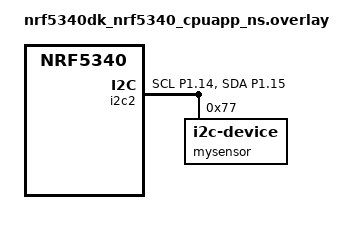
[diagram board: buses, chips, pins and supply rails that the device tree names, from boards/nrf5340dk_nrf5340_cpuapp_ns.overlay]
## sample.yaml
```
sample:
  name: nRF Connect SDK Fundamentals Course - Lesson 6 Exercise 1 Solution
  
common: 
    sysbuild: true
    build_only: true
    integration_platforms: 
      - nrf52dk/nrf52832
      - nrf52833dk/nrf52833
      - nrf52840dk/nrf52840
      - nrf9160dk/nrf9160/ns
      - nrf9161dk/nrf9161/ns
      - nrf9151dk/nrf9151/ns
      - nrf5340dk/nrf5340/cpuapp
      - nrf5340dk/nrf5340/cpuapp/ns
      - nrf54l15dk/nrf54l15/cpuapp
      - nrf54l15dk/nrf54l15/cpuapp/ns
      - nrf7002dk/nrf5340/cpuapp
      - nrf7002dk/nrf5340/cpuapp/ns
    platform_exclude:
      - native_sim
    
tests:
  l6.e1_sol: {}
```

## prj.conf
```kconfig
#
# Copyright (c) 2016 Intel Corporation
#
# SPDX-License-Identifier: Apache-2.0
#

# STEP 2 - Enable the I2C driver
CONFIG_I2C=y
# STEP 4.2 - Enable floating point format specifiers
CONFIG_CBPRINTF_FP_SUPPORT=y
```

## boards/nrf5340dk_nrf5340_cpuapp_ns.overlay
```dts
// To get started, press Ctrl+Space to bring up the completion menu and view the available nodes.
// For more help, browse the DeviceTree documentation at https://docs.zephyrproject.org/latest/guides/dts/index.html

&i2c2 {
    status = "okay";
    pinctrl-0 = <&i2c2_default>;
	pinctrl-1 = <&i2c2_sleep>;
    pinctrl-names = "default", "sleep";
    mysensor: mysensor@77{
        compatible = "i2c-device";
        status = "okay";
        reg = < 0x77 >;
    };
};

&pinctrl {
	/omit-if-no-ref/ i2c2_default: i2c2_default {
		group1  {
			psels = <NRF_PSEL(TWIM_SCL, 1, 14)>,
					<NRF_PSEL(TWIM_SDA, 1, 15)>;
		};
	};

	/omit-if-no-ref/ i2c2_sleep: i2c2_sleep {
		group1  {
			psels = <NRF_PSEL(TWIM_SCL, 1, 14)>,
					<NRF_PSEL(TWIM_SDA, 1, 15)>;
			low-power-enable;
		};
	};
};
```

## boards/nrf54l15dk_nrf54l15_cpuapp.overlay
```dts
// To get started, press Ctrl+Space to bring up the completion menu and view the available nodes.
// For more help, browse the DeviceTree documentation at https://docs.zephyrproject.org/latest/guides/dts/index.html

&i2c21 {
    status = "okay";
    pinctrl-0 = <&i2c21_default>;
	pinctrl-1 = <&i2c21_sleep>;
    pinctrl-names = "default", "sleep";
    mysensor: mysensor@77{
        compatible = "i2c-device";
        status = "okay";
        reg = < 0x77 >;
    };
};

&pinctrl {
	/omit-if-no-ref/ i2c21_default: i2c21_default {
		group1 {
			psels = <NRF_PSEL(TWIM_SCL, 1, 11)>,
				    <NRF_PSEL(TWIM_SDA, 1, 12)>;
		};
	};
    /omit-if-no-ref/ i2c21_sleep: i2c21_sleep {
		group1 {
			psels = <NRF_PSEL(TWIM_SCL, 1, 11)>,
				    <NRF_PSEL(TWIM_SDA, 1, 12)>;
		};
	};
};
```

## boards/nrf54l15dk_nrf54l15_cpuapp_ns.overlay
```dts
	// To get started, press Ctrl+Space to bring up the completion menu and view the available nodes.
// For more help, browse the DeviceTree documentation at https://docs.zephyrproject.org/latest/guides/dts/index.html

&i2c22 {
    status = "okay";
    pinctrl-0 = <&i2c22_default>;
	pinctrl-1 = <&i2c22_sleep>;
    pinctrl-names = "default", "sleep";
    mysensor: mysensor@77{
        compatible = "i2c-device";
        status = "okay";
        reg = < 0x77 >;
    };
};

&pinctrl {
	/omit-if-no-ref/ i2c22_default: i2c22_default {
		group1  {
			psels = <NRF_PSEL(TWIM_SCL, 1, 11)>,
					<NRF_PSEL(TWIM_SDA, 1, 12)>;
		};
	};

	/omit-if-no-ref/ i2c22_sleep: i2c22_sleep {
		group1  {
			psels = <NRF_PSEL(TWIM_SCL, 1, 11)>,
					<NRF_PSEL(TWIM_SDA, 1, 12)>;
			low-power-enable;
		};
	};
};
```

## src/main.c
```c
/*
 * Copyright (c) 2016 Intel Corporation
 *
 * SPDX-License-Identifier: Apache-2.0
 */

#include <zephyr/kernel.h>
#include <zephyr/device.h>
#include <zephyr/devicetree.h>
/* STEP 3 - Include the header file of the I2C API */
#include <zephyr/drivers/i2c.h>
/* STEP 4.1 - Include the header file of printk() */
#include <zephyr/sys/printk.h>
/* 1000 msec = 1 sec */
#define SLEEP_TIME_MS 1000

/* STEP 8 - Define the addresses of relevant registers */
#define CTRLMEAS 0xF4
#define CALIB00	 0x88
#define ID	 0xD0
#define TEMPMSB	 0xFA

#define CHIP_ID  0x60
#define SENSOR_CONFIG_VALUE 0x93

/* STEP 6 - Get the node identifier of the sensor */
#define I2C_NODE DT_NODELABEL(mysensor)

/* Data structure to store BME280 data */
struct bme280_data {
	/* Compensation parameters */
	uint16_t dig_t1;
	int16_t dig_t2;
	int16_t dig_t3;
} bmedata;

/* Read sensor calibration data and stores these into sensor data */
void bme_calibrationdata(const struct i2c_dt_spec *spec, struct bme280_data *sensor_data_ptr)
{
	
	/* Step 10 - Put calibration function code */
	uint8_t values[6];

	int ret = i2c_burst_read_dt(spec, CALIB00, values, 6);

	if (ret != 0) {
		printk("Failed to read register %x \n", CALIB00);
		return;
	}

	sensor_data_ptr->dig_t1 = ((uint16_t)values[1]) << 8 | values[0];
	sensor_data_ptr->dig_t2 = ((uint16_t)values[3]) << 8 | values[2];
	sensor_data_ptr->dig_t3 = ((uint16_t)values[5]) << 8 | values[4];
}

/* Compensate current temperature using previously stored sensor calibration data */
static int32_t bme280_compensate_temp(struct bme280_data *data, int32_t adc_temp)
{
	int32_t var1, var2;

	var1 = (((adc_temp >> 3) - ((int32_t)data->dig_t1 << 1)) * ((int32_t)data->dig_t2)) >> 11;

	var2 = (((((adc_temp >> 4) - ((int32_t)data->dig_t1)) *
		  ((adc_temp >> 4) - ((int32_t)data->dig_t1))) >>
		 12) *
		((int32_t)data->dig_t3)) >>
	       14;

	return ((var1 + var2) * 5 + 128) >> 8;
}

int main(void)
{

	/* STEP 7 - Retrieve the API-specific device structure and make sure that the device is
	 * ready to use  */
	static const struct i2c_dt_spec dev_i2c = I2C_DT_SPEC_GET(I2C_NODE);

	if (!device_is_ready(dev_i2c.bus)) {
		printk("I2C bus %s is not ready!\n", dev_i2c.bus->name);
		return -1;
	}

	/* STEP 9 - Verify it is proper device by reading device id  */
	uint8_t id = 0;
	uint8_t regs[] = {ID};

	int ret = i2c_write_read_dt(&dev_i2c, regs, 1, &id, 1);

	if (ret != 0) {
		printk("Failed to read register %x \n", regs[0]);
		return -1;
	}

	if (id != CHIP_ID) {
		printk("Invalid chip id! %x \n", id);
		return -1;
	}

	bme_calibrationdata(&dev_i2c, &bmedata);

	/* STEP 11 - Setup the sensor by writing the value 0x93 to the Configuration register */
	uint8_t sensor_config[] = {CTRLMEAS, SENSOR_CONFIG_VALUE};

	ret = i2c_write_dt(&dev_i2c, sensor_config, 2);

	if (ret != 0) {
		printk("Failed to write register %x \n", sensor_config[0]);
		return -1;
	}

	while (1) {

		/* STEP 12 - Read the temperature from the sensor */
		uint8_t temp_val[3] = {0};

		int ret = i2c_burst_read_dt(&dev_i2c, TEMPMSB, temp_val, 3);

		if (ret != 0) {
			printk("Failed to read register %x \n", TEMPMSB);
			k_msleep(SLEEP_TIME_MS);
			continue;
		}

		/* STEP 12.1 - Put the data read from registers into actual order (see datasheet) */
		int32_t adc_temp =
			(temp_val[0] << 12) | (temp_val[1] << 4) | ((temp_val[2] >> 4) & 0x0F);

		/* STEP 12.2 - Compensate temperature */
		int32_t comp_temp = bme280_compensate_temp(&bmedata, adc_temp);

		/* STEP 12.3 - Convert temperature */
		float temperature = (float)comp_temp / 100.0f;
		double fTemp = (double)temperature * 1.8 + 32;

		// Print reading to console
		printk("Temperature in Celsius : %8.2f C\n", (double)temperature);
		printk("Temperature in Fahrenheit : %.2f F\n", fTemp);

		k_msleep(SLEEP_TIME_MS);
	}
}
```
